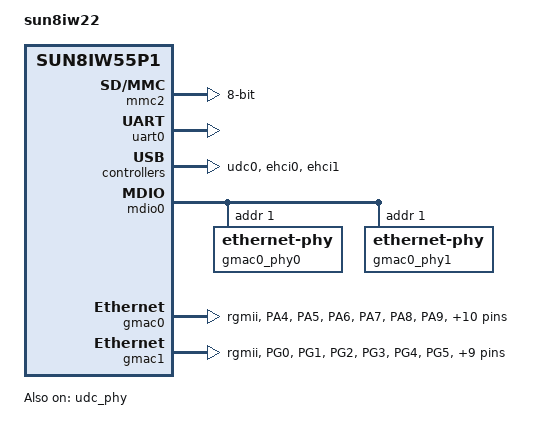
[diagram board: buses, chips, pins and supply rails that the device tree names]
// SPDX-License-Identifier: (GPL-2.0+ or MIT)
/*
 * Allwinner Technology CO., Ltd. sun8iw21p1 platform
 *
 * modify base on juno.dts
 */

/dts-v1/;

#include "sun8iw22p1.dtsi"

/ {
	model = "sun8iw22";
	compatible = "allwinner,t153", "arm,sun8iw55p1";

	aliases {
		serial0 = &uart0;
		dsi0 = &dsi0;
	};

	chosen {
		stdout-path = "serial0:115200n8";
	};

	backlight0: backlight0 {
		compatible = "pwm-backlight";
		status = "disabled";
		brightness-levels = <
			0   1   2   3   4   5   6   7
			8   9   10  11  12  13  14  15
			16  17  18  19  20  21  22  23
			24  25  26  27  28  29  30  31
			32  33  34  35  36  37  38  39
			40  41  42  43  44  45  46  47
			48  49  50  51  52  53  54  55
			56  57  58  59  60  61  62  63
			64  65  66  67  68  69  70  71
			72  73  74  75  76  77  78  79
			80  81  82  83  84  85  86  87
			88  89  90  91  92  93  94  95
			96  97  98  99  100 101 102 103
			104 105 106 107 108 109 110 111
			112 113 114 115 116 117 118 119
			120 121 122 123 124 125 126 127
			128 129 130 131 132 133 134 135
			136 137 138 139 140 141 142 143
			144 145 146 147 148 149 150 151
			152 153 154 155 156 157 158 159
			160 161 162 163 164 165 166 167
			168 169 170 171 172 173 174 175
			176 177 178 179 180 181 182 183
			184 185 186 187 188 189 190 191
			192 193 194 195 196 197 198 199
			200 201 202 203 204 205 206 207
			208 209 210 211 212 213 214 215
			216 217 218 219 220 221 222 223
			224 225 226 227 228 229 230 231
			232 233 234 235 236 237 238 239
			240 241 242 243 244 245 246 247
			248 249 250 251 252 253 254 255>;
		default-brightness-level = <150>;
		/* U-Boot maps the PD22 pwm2_6 pin to logical channel 0. */
		pwms = <&pwm2 0 20000 0>;
	};

	panel_0: panel_0@0 {
		compatible = "panel-dsi";
		status = "disabled";
		enable-delay-ms = <10>;
		reset-delay-ms = <40>;
		reset-gpios = <&pio 3 23 GPIO_ACTIVE_LOW>;
		reset-on-sequence = <1 10>, <0 100>;
		reset-off-sequence = <1 100>;
		backlight = <&backlight0>;
		/* Keep the panel native non-burst mode; HFP includes packet overhead. */
		dsi,flags = <MIPI_DSI_MODE_VIDEO>;
		dsi,lanes = <4>;
		dsi,format = <0>;

		panel-init-sequence = [
			39 00 04 df 91 68 f9
			15 00 02 de 00
			39 00 03 b2 00 7e
			39 00 03 b3 00 7e
			39 00 07 c1 00 10 00 00 00 00
			39 00 08 bb 02 24 07 61 19 44 44
			39 00 03 be 1a f2
			39 00 0f c3 10 17 5a 17 5a 05 05 05 05 15 15 31 05 df
			39 00 08 c4 11 80 00 df 09 06 14
			39 00 18 ce 00 03 03 03 03 03 03 03 03 03 03 03 03 03 03 03 03 03 03 03 03 0f 03
			39 00 0a cf 00 01 40 01 ca 01 ca 01 ca
			39 00 18 d0 00 1f 1f 1f 1f 1f 1f 1f 1f 1f 1f 03 01 05 07 09 0b 1e 15 1f 1f 15 1f
			39 00 18 d1 00 1f 1f 1f 1f 1f 1f 1f 1f 1f 1f 02 00 04 06 08 0a 1e 15 1f 1f 15 1f
			39 00 18 d2 00 1f 1f 1f 1f 1f 1f 1f 1f 1f 1f 00 02 0a 08 06 04 1f 15 1f 1f 15 1e
			39 00 18 d3 00 1f 1f 1f 1f 1f 1f 1f 1f 1f 1f 01 03 0b 09 07 05 1f 15 1f 1f 15 1e
			39 00 26 d4 30 00 00 04 00 06 00 00 00 00 00 03 03 00 11 00 01 c0 04 01 01 11 80 01 c0 05 01 01 00 00 00 04 00 06 18 02 e3
			39 00 09 d5 68 73 00 08 08 00 03 00
			39 00 07 b7 00 d8 00 00 d8 00
			39 00 27 c8 7f 69 5a 4e 4a 3b 40 2a 44 43 44 63 51 59 4c 48 3a 28 0f 7f 69 5a 4e 4a 3b 40 2a 44 43 44 63 51 59 4c 48 3a 28 0f
			15 00 02 de 02
			39 00 05 bb 00 5b 5c 41
			39 00 04 b5 00 5a 0a
			15 00 02 c6 22
			15 00 02 d7 12
			39 00 03 e7 00 00
			15 00 02 de 04
			15 00 02 cc 02
			15 00 02 e7 01
			15 00 02 de 00
			15 00 02 35 00
			05 78 01 11
			05 14 01 29
		];
		panel-exit-sequence = [
			05 00 01 28
			05 78 01 10
		];

		display-timings {
			native-mode = <&timing0>;
			timing0: timing0 {
				clock-frequency = <25000000>;
				hactive = <1024>;
				vactive = <768>;
				/*
				 * U-Boot DSI timing verified for this panel. Keep the Linux
				 * timing identical so the display mode does not change at handoff.
				 */
				hfront-porch = <10>;
				hsync-len = <5>;
				hback-porch = <7>;
				vfront-porch = <6>;
				vsync-len = <2>;
				vback-porch = <20>;
				hsync-active = <0>;
				vsync-active = <0>;
				de-active = <0>;
				pixelclk-active = <0>;
			};
		};

		port {
			#address-cells = <1>;
			#size-cells = <0>;
			panel0_in: endpoint@0 {
				reg = <0>;
				remote-endpoint = <&panel_output_0>;
			};
		};
	};

	wlan-reset {
		reset-gpios = <&pio 9 10 GPIO_ACTIVE_HIGH>;
	};

	firmware {
		optee {
			shm_base = <0x42500000>;	/* shm must between 0x42500000-->0x4290000 */
			shm_size = <0x00400000>;
		//	optee_base = <0x42900000>;
		//	optee_size = <0x00100000>;
			ta_ram_base = <0x42A00000>;	/* ta  must between 0x42A00000-->0x43300000 */
			ta_ram_size = <0x00900000>;
		};
	};
};

&pio {
        gmac0_pins_default: gmac0@0 {
               pins = "PA4", "PA5", "PA6", "PA7", "PA8", "PA9", "PA10", "PA11",
                       "PA12", "PA13", "PA15", "PA16", "PA17", "PA18", "PA19";
                function = "rgmii0_pa";
                drive-strength = <40>;
                bias-pull-up;
        };

        gmac1_pins_default: gmac1@0 {
                pins = "PG0", "PG1", "PG2", "PG3", "PG4", "PG5", "PG6", "PG7",
                        "PG8", "PG9", "PG10", "PG11", "PG12", "PG13";
                function = "rgmii1";
                drive-strength = <40>;
                bias-pull-up;
        };	 

	twi4_pins_default: twi4@0 {
		pins = "PB13", "PB14";
		function = "twi4";
		drive-strength = <20>;
		bias-pull-up;
	};

	spi0_pins_default: spi0@0 {
		pins = "PC2", "PC3"; /* mosi, miso */
		function = "spi0";
		drive-strength = <20>;
	};

	spi0_pins_cs: spi0@1 {
		pins = "PC1", "PC4", "PC5"; /* cs, wp, hold */
		function = "spi0";
		drive-strength = <20>;
		bias-pull-up;
	};

	spi0_pins_clk: spi0@2 {
		pins = "PC0"; /* clk */
		function = "spi0";
		drive-strength = <40>;
	};

	pwm2_pins_default: pwm2@0 {
		pins = "PD22";
		function = "pwm2_6";
		drive-strength = <20>;
	};

};

&mmc0 {
	/*cd-gpios = <&pio 5 6 GPIO_ACTIVE_LOW>;*/	/* PF6 */
	bus-width = <4>;
	status = "disabled";
};

&mmc2 {
	bus-width = <8>;
	cap-mmc-highspeed;
	mmc-ddr-1_8v;
	max-frequency = <50000000>;
	sdc_ex_dly_used = <2>;
	sdc_tm4_hs200_max_freq = <200>;
	sdc_tm4_hs400_max_freq = <150>;
	sdc_tm4_win_th = <0x7>;
	sdc_io_1v8 = <0x1>;
	status = "okay";
};

&uart0 {
	pinctrl-names = "default";
	pinctrl-0 = <&uart0_ph_pins>;
	status = "okay";
};

&sunxi_drm {
	status = "disabled";
};

&de {
	chn_cfg_mode = <0>;
	status = "disabled";
};

&vo0 {
	status = "disabled";
};

&lcd0 {
	status = "disabled";
};

&pwm2 {
	pinctrl-names = "active";
	pinctrl-0 = <&pwm2_pins_default>;
	status = "disabled";
};

&dsi0combophy {
	status = "disabled";
};

&dsi0 {
	status = "disabled";
	pinctrl-names = "active", "sleep";
	pinctrl-0 = <&dsi0_4lane_pins_a>;
	pinctrl-1 = <&dsi0_4lane_pins_b>;
	#address-cells = <1>;
	#size-cells = <0>;
	ports {
		#address-cells = <1>;
		#size-cells = <0>;
		dsi0_out: port@1 {
			reg = <1>;
			dsi_out_panel: endpoint {
				remote-endpoint = <&panel_input>;
			};
		};
	};
	panel: panel@0 {
		compatible = "allwinner,virtual-panel";
		status = "okay";
		reg = <0>;
		ports {
			#address-cells = <1>;
			#size-cells = <0>;
			panel_in: port@0 {
				#address-cells = <1>;
				#size-cells = <0>;
				reg = <0>;
				panel_input: endpoint@0 {
					reg = <0>;
					remote-endpoint = <&dsi_out_panel>;
				};
			};
			panel_out: port@1 {
				#address-cells = <1>;
				#size-cells = <0>;
				reg = <1>;
				panel_output_0: endpoint@0 {
					reg = <0>;
					remote-endpoint = <&panel0_in>;
				};
			};
		};
	};
};

&route_dsi0 {
	status = "disabled";
	/* logo,uboot = "bootlogo.bmp"; */
};

&route_lvds0 {
	status = "disabled";
};

&route_rgb0 {
	status = "disabled";
};

&lvds0 {
	status = "disabled";
};

&rgb0 {
	status = "disabled";
};

&platform {
	eraseflag = <1>;
	debug_mode = <4>;
};

&target {
	boot_clock = <1008>;	/*CPU boot frequency, Unit: MHz*/
	auto_fel = <0>;		/*1:support auto fel; 0:not support auto fel*/
	burn_key = <1>;		/*1:support burn key; 0:not support burn key*/
};

&udc0 {
	status = "okay";
};

&udc_phy {
	status = "okay";
};

&ehci0 {
	//vbus-gpio = <&pio 1 2 GPIO_ACTIVE_HIGH>;  // GPIO : PB2
	status = "okay";
};

&ehci1 {
	//vbus-gpio = <&pio 1 3 GPIO_ACTIVE_HIGH>;  // GPIO : PB3
	status = "okay";
};

&twi4 {
	clock-frequency = <100000>;
	pinctrl-names = "default";
	pinctrl-0 = <&twi4_pins_default>;
	status = "disabled";
};

&spi0 {
	pinctrl-0 = <&spi0_pins_default>, <&spi0_pins_cs>, <&spi0_pins_clk>;
	pinctrl-names = "default";
	sunxi,spi-bus-mode = <SUNXI_SPI_BUS_FLASH>;
	sunxi,spi-cs-mode = <SUNXI_SPI_CS_SOFT>;
	status = "disabled";

	spi-nand@0 {
		#address-cells = <1>;
		#size-cells = <1>;
		compatible = "spi-nand";
		reg = <0x0>;
		spi-max-frequency = <100000000>;
		spi-rx-bus-width=<0x04>;
		spi-tx-bus-width=<0x04>;
		status="okay";
	};
};
&mdio0 {
        gmac0_phy0: ethernet-phy@1 {
                reg = <0x1>;
        };

        gmac0_phy1: ethernet-phy@1 {
                reg = <0x1>;
        };
};

&gmac0 {
        phy-mode = "rgmii";
        max-speed = <1000>;
        pinctrl-names = "default";
        pinctrl-0 = <&gmac0_pins_default>;
        //aw,soc-phy-clk-en;
        tx-delay = <9>;
        rx-delay = <6>;
        snps,reset-gpio = <&pio 9 2 GPIO_ACTIVE_HIGH>;  // PE0
        snps,reset-delays-us = <0 10000 30000>;
        status = "okay";
};

&gmac1 {
        phy-mode = "rgmii";
        max-speed = <1000>;
        pinctrl-names = "default";
        pinctrl-0 = <&gmac1_pins_default>;
       // aw,soc-phy-clk-en;
        tx-delay = <9>;
        rx-delay = <5>;
        snps,reset-gpio = <&pio 9 3 GPIO_ACTIVE_HIGH>; // PE9
        snps,reset-delays-us = <0 10000 30000>;
        status = "okay";
};
